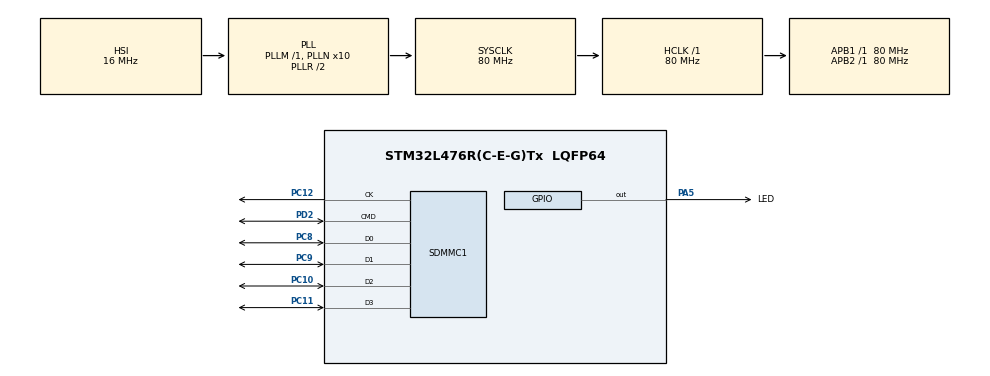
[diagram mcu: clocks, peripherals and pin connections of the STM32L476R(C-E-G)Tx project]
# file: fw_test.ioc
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Dma.Request0=SDMMC1
Dma.SDMMC1.0.Direction=DMA_PERIPH_TO_MEMORY
Dma.SDMMC1.0.Instance=DMA2_Channel5
Dma.SDMMC1.0.MemDataAlignment=DMA_MDATAALIGN_WORD
Dma.SDMMC1.0.MemInc=DMA_MINC_ENABLE
Dma.SDMMC1.0.Mode=DMA_NORMAL
Dma.SDMMC1.0.PeriphDataAlignment=DMA_PDATAALIGN_WORD
Dma.SDMMC1.0.PeriphInc=DMA_PINC_DISABLE
Dma.SDMMC1.0.Priority=DMA_PRIORITY_VERY_HIGH
FATFS._LFN_UNICODE=0
FATFS._MAX_SS=4096
FATFS._STRF_ENCODE=3
FATFS._USE_LFN=2
FREERTOS.Tasks01=SDcardTask,-1,2048,SDcardTaskFunc,Default,NULL,Dynamic,NULL,NULL;LEDTask,-3,256,LEDTaskFunc,Default,NULL,Dynamic,NULL,NULL
FREERTOS.configMINIMAL_STACK_SIZE=256
FREERTOS.configTOTAL_HEAP_SIZE=16000
Mcu.Family=STM32L4
Mcu.Name=STM32L476R(C-E-G)Tx
Mcu.Package=LQFP64
NVIC.DMA2_Channel5_IRQn=true\:5\:0\:false\:false\:true\:true\:false
NVIC.PriorityGroup=NVIC_PRIORITYGROUP_4
NVIC.SDMMC1_IRQn=true\:5\:0\:false\:false\:true\:true\:true
NVIC.TIM6_DAC_IRQn=true\:0\:0\:false\:false\:true\:false\:false
NVIC.TimeBase=TIM6_DAC_IRQn
NVIC.TimeBaseIP=TIM6
PA5.GPIO_Label=LED
PA5.Signal=GPIO_Output
PC10.GPIO_PuPd=GPIO_PULLUP
PC10.Mode=SD_4_bits_Wide_bus
PC10.Signal=SDMMC1_D2
PC11.GPIO_PuPd=GPIO_PULLUP
PC11.Mode=SD_4_bits_Wide_bus
PC11.Signal=SDMMC1_D3
PC12.GPIO_PuPd=GPIO_NOPULL
PC12.Mode=SD_4_bits_Wide_bus
PC12.Signal=SDMMC1_CK
PC14-OSC32_IN\ (PC14).Mode=LSE-External-Oscillator
PC14-OSC32_IN\ (PC14).Signal=RCC_OSC32_IN
PC15-OSC32_OUT\ (PC15).Mode=LSE-External-Oscillator
PC15-OSC32_OUT\ (PC15).Signal=RCC_OSC32_OUT
PC8.GPIO_PuPd=GPIO_PULLUP
PC8.Mode=SD_4_bits_Wide_bus
PC8.Signal=SDMMC1_D0
PC9.GPIO_PuPd=GPIO_PULLUP
PC9.Mode=SD_4_bits_Wide_bus
PC9.Signal=SDMMC1_D1
PD2.GPIO_PuPd=GPIO_PULLUP
PD2.Mode=SD_4_bits_Wide_bus
PD2.Signal=SDMMC1_CMD
ProjectManager.HeapSize=0x3000
ProjectManager.StackSize=0x3000
ProjectManager.TargetToolchain=SW4STM32
RCC.ADCFreq_Value=96000000
RCC.AHBFreq_Value=80000000
RCC.APB1Freq_Value=80000000
RCC.APB1TimFreq_Value=80000000
RCC.APB2Freq_Value=80000000
RCC.APB2TimFreq_Value=80000000
RCC.CortexFreq_Value=80000000
RCC.HCLKFreq_Value=80000000
RCC.HSE_VALUE=8000000
RCC.HSI_VALUE=16000000
RCC.MSI_VALUE=4000000
RCC.PLLN=10
RCC.PLLSAI1N=12
RCC.PLLSAI1Q=RCC_PLLQ_DIV4
RCC.PLLSourceVirtual=RCC_PLLSOURCE_HSI
RCC.SYSCLKFreq_VALUE=80000000
RCC.SYSCLKSource=RCC_SYSCLKSOURCE_PLLCLK
RCC.USBFreq_Value=48000000
RCC.VCOOutputFreq_Value=160000000
SDMMC1.ClockDiv=0
VP_FATFS_VS_SDIO.Mode=SDIO
VP_FREERTOS_VS_ENABLE.Mode=Enabled
VP_RTC_VS_RTC_Activate.Mode=RTC_Enabled
VP_RTC_VS_RTC_Calendar.Mode=RTC_Calendar
VP_SYS_VS_tim6.Mode=TIM6
board=fw_test

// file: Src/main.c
/**
  ******************************************************************************
  * @file           : main.c
  * @brief          : Main program body
  ******************************************************************************
  * This notice applies to any and all portions of this file
  * that are not between comment pairs USER CODE BEGIN and
  * USER CODE END. Other portions of this file, whether
  * inserted by the user or by software development tools
  * are owned by their respective copyright owners.
  *
  * Copyright (c) 2018 STMicroelectronics International N.V.
  * All rights reserved.
  *
  * Redistribution and use in source and binary forms, with or without
  * modification, are permitted, provided that the following conditions are met:
  *
  * 1. Redistribution of source code must retain the above copyright notice,
  *    this list of conditions and the following disclaimer.
  * 2. Redistributions in binary form must reproduce the above copyright notice,
  *    this list of conditions and the following disclaimer in the documentation
  *    and/or other materials provided with the distribution.
  * 3. Neither the name of STMicroelectronics nor the names of other
  *    contributors to this software may be used to endorse or promote products
  *    derived from this software without specific written permission.
  * 4. This software, including modifications and/or derivative works of this
  *    software, must execute solely and exclusively on microcontroller or
  *    microprocessor devices manufactured by or for STMicroelectronics.
  * 5. Redistribution and use of this software other than as permitted under
  *    this license is void and will automatically terminate your rights under
  *    this license.
  *
  * THIS SOFTWARE IS PROVIDED BY STMICROELECTRONICS AND CONTRIBUTORS "AS IS"
  * AND ANY EXPRESS, IMPLIED OR STATUTORY WARRANTIES, INCLUDING, BUT NOT
  * LIMITED TO, THE IMPLIED WARRANTIES OF MERCHANTABILITY, FITNESS FOR A
  * PARTICULAR PURPOSE AND NON-INFRINGEMENT OF THIRD PARTY INTELLECTUAL PROPERTY
  * RIGHTS ARE DISCLAIMED TO THE FULLEST EXTENT PERMITTED BY LAW. IN NO EVENT
  * SHALL STMICROELECTRONICS OR CONTRIBUTORS BE LIABLE FOR ANY DIRECT, INDIRECT,
  * INCIDENTAL, SPECIAL, EXEMPLARY, OR CONSEQUENTIAL DAMAGES (INCLUDING, BUT NOT
  * LIMITED TO, PROCUREMENT OF SUBSTITUTE GOODS OR SERVICES; LOSS OF USE, DATA,
  * OR PROFITS; OR BUSINESS INTERRUPTION) HOWEVER CAUSED AND ON ANY THEORY OF
  * LIABILITY, WHETHER IN CONTRACT, STRICT LIABILITY, OR TORT (INCLUDING
  * NEGLIGENCE OR OTHERWISE) ARISING IN ANY WAY OUT OF THE USE OF THIS SOFTWARE,
  * EVEN IF ADVISED OF THE POSSIBILITY OF SUCH DAMAGE.
  *
  ******************************************************************************
  */
#include "main.h"
#include "stm32l4xx_hal.h"
#include "cmsis_os.h"
#include "fatfs.h"

RTC_HandleTypeDef hrtc;

SD_HandleTypeDef hsd1;
DMA_HandleTypeDef hdma_sdmmc1;

osThreadId SDcardTaskHandle;
osThreadId LEDTaskHandle;

/* USER CODE BEGIN PV */
/* Private variables ---------------------------------------------------------*/
FATFS SDFatFs;  /* File system object for SD card logical drive */
FIL MyFile;     /* File object */
char SDPath[4]; /* SD card logical drive path */
static uint8_t isFsCreated = 0;
uint8_t workBuffer[2 * _MAX_SS];
static uint8_t isInitialized = 0;
/* USER CODE END PV */

void SystemClock_Config(void);
static void MX_GPIO_Init(void);
static void MX_DMA_Init(void);
static void MX_SDMMC1_SD_Init(void);
static void MX_RTC_Init(void);
void SDcardTaskFunc(void const * argument);
void LEDTaskFunc(void const * argument);

/* USER CODE BEGIN PFP */
/* Private function prototypes -----------------------------------------------*/
static void SD_Initialize(void);
static void FS_FileOperations(void);
/* USER CODE END PFP */

int main(void)
{

  /* MCU Configuration----------------------------------------------------------*/

  /* Reset of all peripherals, Initializes the Flash interface and the Systick. */
  HAL_Init();

  /* USER CODE BEGIN Init */
  //RCC_OscInitStruct.PLL.PLLM = 1; //Missed line
  /* USER CODE END Init */

  /* Configure the system clock */
  SystemClock_Config();

  /* Initialize all configured peripherals */
  MX_GPIO_Init();
  MX_DMA_Init();
  MX_SDMMC1_SD_Init();
  MX_RTC_Init();

  /* Create the thread(s) */
  /* definition and creation of SDcardTask */
  osThreadDef(SDcardTask, SDcardTaskFunc, osPriorityBelowNormal, 0, 2048);
  SDcardTaskHandle = osThreadCreate(osThread(SDcardTask), NULL);

  /* definition and creation of LEDTask */
  osThreadDef(LEDTask, LEDTaskFunc, osPriorityIdle, 0, 256);
  LEDTaskHandle = osThreadCreate(osThread(LEDTask), NULL);

  /* Start scheduler */
  osKernelStart();

  /* We should never get here as control is now taken by the scheduler */

  /* Infinite loop */
  while (1)
  {

  }

}

void SystemClock_Config(void)
{

  RCC_OscInitTypeDef RCC_OscInitStruct;
  RCC_ClkInitTypeDef RCC_ClkInitStruct;
  RCC_PeriphCLKInitTypeDef PeriphClkInit;

    /**Initializes the CPU, AHB and APB busses clocks
    */
  RCC_OscInitStruct.OscillatorType = RCC_OSCILLATORTYPE_HSI|RCC_OSCILLATORTYPE_LSI;
  RCC_OscInitStruct.HSIState = RCC_HSI_ON;
  RCC_OscInitStruct.HSICalibrationValue = 16;
  RCC_OscInitStruct.LSIState = RCC_LSI_ON;
  RCC_OscInitStruct.PLL.PLLState = RCC_PLL_ON;
  RCC_OscInitStruct.PLL.PLLSource = RCC_PLLSOURCE_HSI;
  RCC_OscInitStruct.PLL.PLLM = 1; //Missed line
  RCC_OscInitStruct.PLL.PLLN = 10;
  RCC_OscInitStruct.PLL.PLLP = RCC_PLLP_DIV7;
  RCC_OscInitStruct.PLL.PLLQ = RCC_PLLQ_DIV2;
  RCC_OscInitStruct.PLL.PLLR = RCC_PLLR_DIV2;
  if (HAL_RCC_OscConfig(&RCC_OscInitStruct) != HAL_OK)
  {
    _Error_Handler(__FILE__, __LINE__);
  }

    /**Initializes the CPU, AHB and APB busses clocks
    */
  RCC_ClkInitStruct.ClockType = RCC_CLOCKTYPE_HCLK|RCC_CLOCKTYPE_SYSCLK
                              |RCC_CLOCKTYPE_PCLK1|RCC_CLOCKTYPE_PCLK2;
  RCC_ClkInitStruct.SYSCLKSource = RCC_SYSCLKSOURCE_PLLCLK;
  RCC_ClkInitStruct.AHBCLKDivider = RCC_SYSCLK_DIV1;
  RCC_ClkInitStruct.APB1CLKDivider = RCC_HCLK_DIV1;
  RCC_ClkInitStruct.APB2CLKDivider = RCC_HCLK_DIV1;

  if (HAL_RCC_ClockConfig(&RCC_ClkInitStruct, FLASH_LATENCY_4) != HAL_OK)
  {
    _Error_Handler(__FILE__, __LINE__);
  }

  PeriphClkInit.PeriphClockSelection = RCC_PERIPHCLK_RTC|RCC_PERIPHCLK_SDMMC1;
  PeriphClkInit.RTCClockSelection = RCC_RTCCLKSOURCE_LSI;
  PeriphClkInit.Sdmmc1ClockSelection = RCC_SDMMC1CLKSOURCE_PLLSAI1;
  PeriphClkInit.PLLSAI1.PLLSAI1Source = RCC_PLLSOURCE_HSI;
  PeriphClkInit.PLLSAI1.PLLSAI1M = 1;
  PeriphClkInit.PLLSAI1.PLLSAI1N = 12;
  PeriphClkInit.PLLSAI1.PLLSAI1P = RCC_PLLP_DIV7;
  PeriphClkInit.PLLSAI1.PLLSAI1Q = RCC_PLLQ_DIV4;
  PeriphClkInit.PLLSAI1.PLLSAI1R = RCC_PLLR_DIV2;
  PeriphClkInit.PLLSAI1.PLLSAI1ClockOut = RCC_PLLSAI1_48M2CLK;
  if (HAL_RCCEx_PeriphCLKConfig(&PeriphClkInit) != HAL_OK)
  {
    _Error_Handler(__FILE__, __LINE__);
  }

    /**Configure the main internal regulator output voltage
    */
  if (HAL_PWREx_ControlVoltageScaling(PWR_REGULATOR_VOLTAGE_SCALE1) != HAL_OK)
  {
    _Error_Handler(__FILE__, __LINE__);
  }

    /**Configure the Systick interrupt time
    */
  HAL_SYSTICK_Config(HAL_RCC_GetHCLKFreq()/1000);

    /**Configure the Systick
    */
  HAL_SYSTICK_CLKSourceConfig(SYSTICK_CLKSOURCE_HCLK);

  /* SysTick_IRQn interrupt configuration */
  HAL_NVIC_SetPriority(SysTick_IRQn, 15, 0);
}

/* RTC init function */
static void MX_RTC_Init(void)
{

  RTC_TimeTypeDef sTime;
  RTC_DateTypeDef sDate;

    /**Initialize RTC Only
    */
  hrtc.Instance = RTC;
if(HAL_RTCEx_BKUPRead(&hrtc, RTC_BKP_DR0) != 0x32F2){
  hrtc.Init.HourFormat = RTC_HOURFORMAT_24;
  hrtc.Init.AsynchPrediv = 127;
  hrtc.Init.SynchPrediv = 255;
  hrtc.Init.OutPut = RTC_OUTPUT_DISABLE;
  hrtc.Init.OutPutRemap = RTC_OUTPUT_REMAP_NONE;
  hrtc.Init.OutPutPolarity = RTC_OUTPUT_POLARITY_HIGH;
  hrtc.Init.OutPutType = RTC_OUTPUT_TYPE_OPENDRAIN;
  if (HAL_RTC_Init(&hrtc) != HAL_OK)
  {
    _Error_Handler(__FILE__, __LINE__);
  }

    /**Initialize RTC and set the Time and Date
    */
  sTime.Hours = 0x0;
  sTime.Minutes = 0x0;
  sTime.Seconds = 0x0;
  sTime.DayLightSaving = RTC_DAYLIGHTSAVING_NONE;
  sTime.StoreOperation = RTC_STOREOPERATION_RESET;
  if (HAL_RTC_SetTime(&hrtc, &sTime, RTC_FORMAT_BCD) != HAL_OK)
  {
    _Error_Handler(__FILE__, __LINE__);
  }

  sDate.WeekDay = RTC_WEEKDAY_MONDAY;
  sDate.Month = RTC_MONTH_JANUARY;
  sDate.Date = 0x1;
  sDate.Year = 0x0;

  if (HAL_RTC_SetDate(&hrtc, &sDate, RTC_FORMAT_BCD) != HAL_OK)
  {
    _Error_Handler(__FILE__, __LINE__);
  }

    HAL_RTCEx_BKUPWrite(&hrtc,RTC_BKP_DR0,0x32F2);
  }

}

/* SDMMC1 init function */
static void MX_SDMMC1_SD_Init(void)
{

  hsd1.Instance = SDMMC1;
  hsd1.Init.ClockEdge = SDMMC_CLOCK_EDGE_RISING;
  hsd1.Init.ClockBypass = SDMMC_CLOCK_BYPASS_DISABLE;
  hsd1.Init.ClockPowerSave = SDMMC_CLOCK_POWER_SAVE_DISABLE;
  hsd1.Init.BusWide = SDMMC_BUS_WIDE_1B;
  hsd1.Init.HardwareFlowControl = SDMMC_HARDWARE_FLOW_CONTROL_DISABLE;
  hsd1.Init.ClockDiv = 0;

}

static void MX_DMA_Init(void)
{
  /* DMA controller clock enable */
  __HAL_RCC_DMA2_CLK_ENABLE();

  /* DMA interrupt init */
  /* DMA2_Channel5_IRQn interrupt configuration */
  HAL_NVIC_SetPriority(DMA2_Channel5_IRQn, 5, 0);
  HAL_NVIC_EnableIRQ(DMA2_Channel5_IRQn);

}

/** Configure pins as
        * Analog
        * Input
        * Output
        * EVENT_OUT
        * EXTI
*/
static void MX_GPIO_Init(void)
{

  GPIO_InitTypeDef GPIO_InitStruct;

  /* GPIO Ports Clock Enable */
  __HAL_RCC_GPIOC_CLK_ENABLE();
  __HAL_RCC_GPIOA_CLK_ENABLE();
  __HAL_RCC_GPIOD_CLK_ENABLE();

  /*Configure GPIO pin Output Level */
  HAL_GPIO_WritePin(LED_GPIO_Port, LED_Pin, GPIO_PIN_RESET);

  /*Configure GPIO pin : LED_Pin */
  GPIO_InitStruct.Pin = LED_Pin;
  GPIO_InitStruct.Mode = GPIO_MODE_OUTPUT_PP;
  GPIO_InitStruct.Pull = GPIO_NOPULL;
  GPIO_InitStruct.Speed = GPIO_SPEED_FREQ_LOW;
  HAL_GPIO_Init(LED_GPIO_Port, &GPIO_InitStruct);

}

/* USER CODE BEGIN 4 */
static void SD_Initialize(void)
{
  if (isInitialized == 0)
  {
    BSP_SD_Init();
    BSP_SD_ITConfig();

    if(BSP_SD_IsDetected())
    {
      isInitialized = 1;
    }
  }
}

static void FS_FileOperations(void)
{
  FRESULT res;                                          /* FatFs function common result code */
  uint32_t byteswritten, bytesread;                     /* File write/read counts */
  uint8_t wtext[] = "stm32l476rg: This is STM32 working with FatFs uSD + DMA + FreeRTOS. Thanks Dmitry."; /* File write buffer */
  uint8_t rtext[100];                                   /* File read buffer */

  /* Register the file system object to the FatFs module */
  if(f_mount(&SDFatFs, (TCHAR const*)SDPath, 0) == FR_OK)
  {

    /* check whether the FS has been already created */
    if (isFsCreated == 0)
    {
      if(f_mkfs(SDPath, FM_ANY, 0, workBuffer, sizeof(workBuffer)) != FR_OK)
      {
    	HAL_GPIO_WritePin(LED_GPIO_Port,LED_Pin,GPIO_PIN_SET);
        return;
      }
      isFsCreated = 1;
    }

    if(f_mount(&SDFatFs, (TCHAR const*)SDPath, 0) == FR_OK)
    {
		/* Create and Open a new text file object with write access */
		if(f_open(&MyFile, "STM321.TXT", FA_CREATE_ALWAYS | FA_WRITE) == FR_OK)
		{
		  /* Write data to the text file */
		  res = f_write(&MyFile, wtext, sizeof(wtext), (void *)&byteswritten);

		  if((byteswritten > 0) && (res == FR_OK))
		  {
			/* Close the open text file */
			f_close(&MyFile);

			/* Open the text file object with read access */
			if(f_open(&MyFile, "STM321.TXT", FA_READ) == FR_OK)
			{
			  /* Read data from the text file */
			  res = f_read(&MyFile, rtext, sizeof(rtext), (void *)&bytesread);

			  if((bytesread > 0) && (res == FR_OK))
			  {
				/* Close the open text file */
				f_close(&MyFile);

				/* Compare read data with the expected data */
				if((bytesread == byteswritten))
				{
				  /* Success of the demo: no error occurrence */
				  HAL_GPIO_WritePin(LED_GPIO_Port,LED_Pin,GPIO_PIN_SET);
				  return;
				}
			  }
			}
		  }
		}
	  }
  }
  /* Error */
  HAL_GPIO_WritePin(LED_GPIO_Port,LED_Pin,GPIO_PIN_RESET);
}
/* USER CODE END 4 */

/* SDcardTaskFunc function */
void SDcardTaskFunc(void const * argument)
{
  /* init code for FATFS */
  MX_FATFS_Init();

  /* USER CODE BEGIN 5 */
  SD_Initialize();
  MX_FATFS_Init();
  FS_FileOperations();
  /* Infinite loop */
  for(;;)
  {
	HAL_GPIO_TogglePin(LED_GPIO_Port,LED_Pin);
    osDelay(100);
  }
  /* USER CODE END 5 */
}

/* LEDTaskFunc function */
void LEDTaskFunc(void const * argument)
{
  for(;;)
  {
    osDelay(1);
  }
}

void HAL_TIM_PeriodElapsedCallback(TIM_HandleTypeDef *htim)
{
  if (htim->Instance == TIM6) {
    HAL_IncTick();
  }
}

void _Error_Handler(char *file, int line)
{
  while(1)
  {
  }
}

/************************ (C) COPYRIGHT STMicroelectronics *****END OF FILE****/
